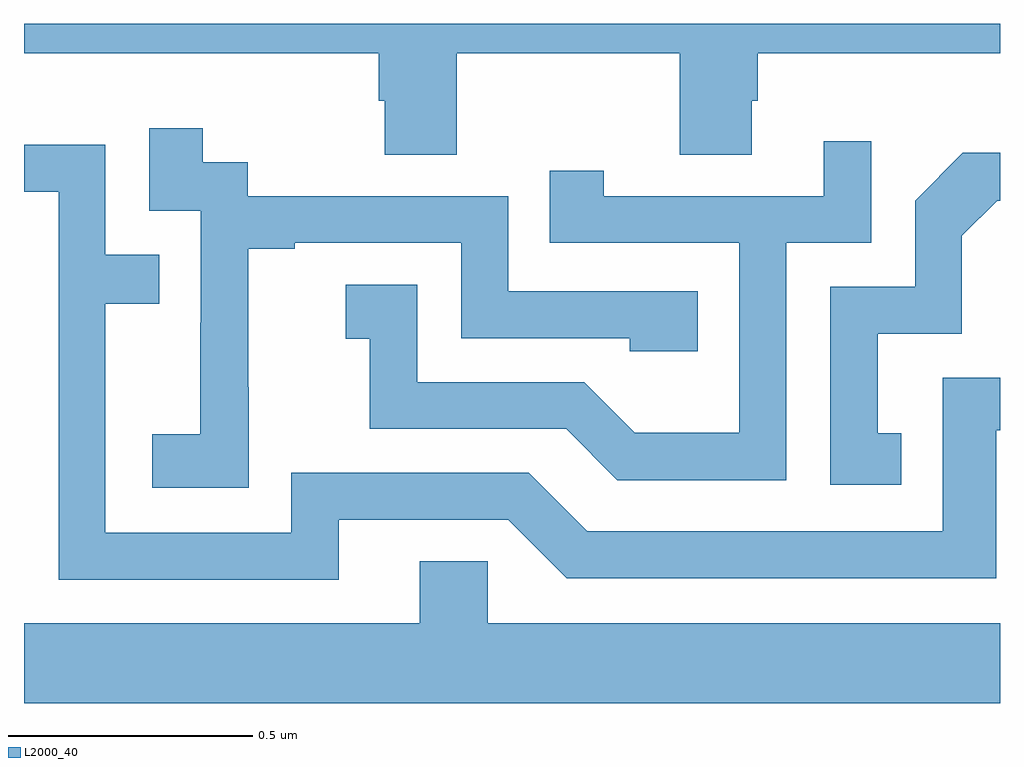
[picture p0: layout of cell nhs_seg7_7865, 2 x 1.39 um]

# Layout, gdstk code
import gdstk
lib = gdstk.Library(unit=1e-6, precision=1e-09)
def P(c, l, *ps):  # polygons
    for p in ps: c.add(gdstk.Polygon(p, *l))
L2000_40 = (2000, 40)

nhs_seg7_7865 = lib.new_cell('nhs_seg7_7865')
P(nhs_seg7_7865, L2000_40, [(217.887,1009.94),(218.344,1009.94),(218.344,1009.732),(218.491,1009.732),(218.491,1009.842),(218.504,1009.842),(218.504,1009.94),(219,1009.94),(219,1010),(217,1010),(217,1009.94),(217.727,1009.94),(217.727,1009.842),(217.739,1009.842),(217.739,1009.732),(217.887,1009.732)],
  [(217.461,1009.255),(217.46,1009.255),(217.46,1009.539),(217.555,1009.539),(217.555,1009.551),(217.896,1009.551),(217.896,1009.356),(218.241,1009.356),(218.241,1009.329),(218.381,1009.329),(218.381,1009.452),(217.992,1009.452),(217.992,1009.647),(217.458,1009.647),(217.458,1009.716),(217.366,1009.716),(217.366,1009.786),(217.257,1009.786),(217.257,1009.617),(217.362,1009.617),(217.362,1009.388),(217.361,1009.388),(217.361,1009.159),(217.263,1009.159),(217.263,1009.049),(217.461,1009.049)],
  [(218.562,1009.551),(218.736,1009.551),(218.736,1009.759),(218.639,1009.759),(218.639,1009.647),(218.188,1009.647),(218.188,1009.699),(218.077,1009.699),(218.077,1009.551),(218.466,1009.551),(218.466,1009.162),(218.252,1009.162),(218.148,1009.266),(217.806,1009.266),(217.806,1009.465),(217.659,1009.465),(217.659,1009.355),(217.708,1009.355),(217.708,1009.17),(218.111,1009.17),(218.216,1009.065),(218.562,1009.065)],
  [(217.645,1008.984),(217.992,1008.984),(218.112,1008.864),(218.992,1008.864),(218.992,1009.167),(219,1009.167),(219,1009.275),(218.883,1009.275),(218.883,1008.96),(218.154,1008.96),(218.034,1009.08),(217.548,1009.08),(217.548,1008.957),(217.167,1008.957),(217.167,1009.426),(217.277,1009.426),(217.277,1009.527),(217.167,1009.527),(217.167,1009.752),(217,1009.752),(217,1009.656),(217.071,1009.656),(217.071,1008.861),(217.645,1008.861)],
  [(218.798,1009.161),(218.749,1009.161),(218.749,1009.365),(218.922,1009.365),(218.922,1009.566),(218.994,1009.638),(219,1009.638),(219,1009.736),(218.924,1009.736),(218.826,1009.638),(218.826,1009.461),(218.652,1009.461),(218.652,1009.056),(218.798,1009.056)],
  [(219,1008.772),(217.95,1008.772),(217.95,1008.899),(217.811,1008.899),(217.811,1008.772),(217,1008.772),(217,1008.608),(219,1008.608)])

lib.write_gds('nhs_seg7_7865.gds')
